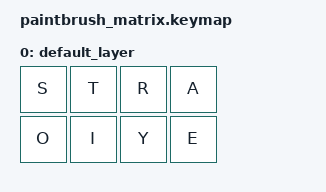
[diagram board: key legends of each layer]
/*
 * Copyright (c) 2020 The ZMK Contributors
 *
 * SPDX-License-Identifier: MIT
 */

#include <behaviors.dtsi>
#include <dt-bindings/zmk/keys.h>
#include <dt-bindings/zmk/bt.h>

#define BT0 BT_SEL 0
#define BT1 BT_SEL 1
#define BT2 BT_SEL 2
#define BT3 BT_SEL 3
#define BT4 BT_SEL 4

#define LDR LC(A)

/ {
    keymap {
        compatible = "zmk,keymap";

        default_layer {
            bindings = <
            &kp S &kp T &kp R &kp A
            &kp O &kp I &kp Y &kp E
            >;
        };
    };
};
